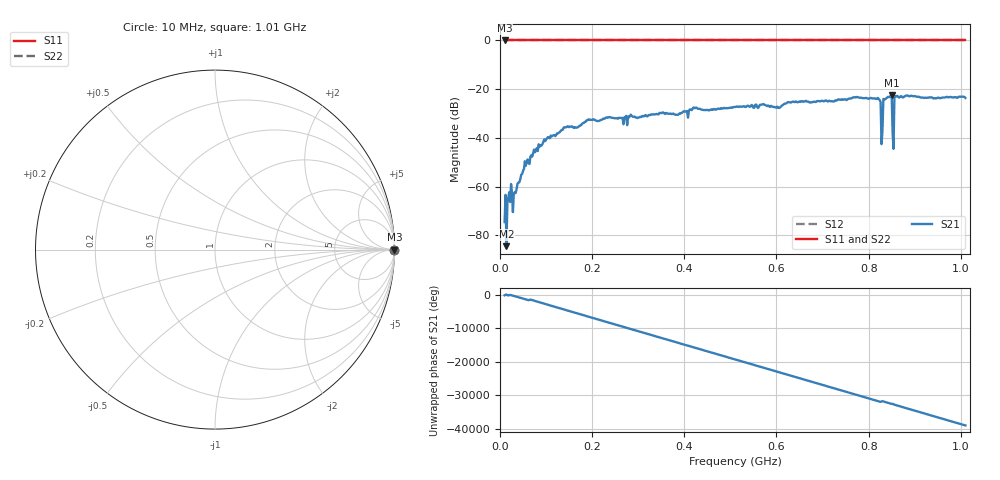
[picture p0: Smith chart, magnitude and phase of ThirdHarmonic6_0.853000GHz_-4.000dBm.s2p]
! 8/16/2025 4:13:16 AM
! C:\ANRITSUVNA\TEMP\TEMP.S2P
! CHANNEL.1
! TR.MEASUREMENT
! RAW.DATA
! RF.CORRECTION.OFF
! AVERAGING.OFF
! IF.BANDWIDTH: 5KHZ
! SWEEPTYPE:  FREQ.SWEEP(Linear)
! Reference Plane Port Info
! PORT:  PORT1  PORT2
! DISTANCE:  0  m  0  m
! TIME:  0  s  0  s
! PHASE.OFFSET:  0  deg.  0  deg.
! LOSS:  0  dB  0  dB
! REF.LOSS:  0  dB  0  dB
! REF.FREQ:  0  Hz  0  Hz
! Power Info
! POWER:  -20  dBm  -20  dBm
! EFF.POWER:  -20  dBm  -20  dBm
! SOURCE.ATTEN:  0  dB  0  dB
! TEST.ATTEN:  0  dB  0  dB
# GHZ S RI R 50.0
! FREQ.GHZ  S11RE  S11IM  S21RE  S21IM  S12RE  S12IM  S22RE  S22IM
!; PortSelection: Port_12
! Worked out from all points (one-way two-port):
!   501 points, 10 MHz to 1.01 GHz, reference 50 ohm
!   highest |S21| = -22.36 dB at 850 MHz (marker M1); lowest = -84.4 dB at 14 MHz (marker M2)
!   lowest |S11| = 0.0 dB at 10 MHz (marker M3)
!   |S11| at or under -10 dB: nowhere
!   |S22| runs from 0.0 to 0.0 dB; largest |S21 - S12| = 1.1
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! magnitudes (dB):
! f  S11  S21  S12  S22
! 10 MHz  0.0  -74.5  0.0  0.0
! 14 MHz  0.0  -84.4  0.0  0.0
! 20 MHz  0.0  -62.3  0.0  0.0
! 32 MHz  0.0  -62.3  0.0  0.0
! 56 MHz  0.0  -51.4  0.0  0.0
! 76 MHz  0.0  -45.9  0.0  0.0
! 142 MHz  0.0  -35.7  0.0  0.0
! 178 MHz  0.0  -34.2  0.0  0.0
! 344 MHz  0.0  -30.3  0.0  0.0
! 510 MHz  0.0  -27.3  0.0  0.0
! 678 MHz  0.0  -25.3  0.0  0.0
! 818 MHz  0.0  -24.0  0.0  0.0
! 822 MHz  0.0  -24.0  0.0  0.0
! 828 MHz  0.0  -42.6  0.0  0.0
! 832 MHz  0.0  -24.0  0.0  0.0
! 836 MHz  0.0  -24.1  0.0  0.0
! 844 MHz  0.0  -23.2  0.0  0.0
! 846 MHz  0.0  -23.2  0.0  0.0
! 850 MHz  0.0  -22.4  0.0  0.0
! 856 MHz  0.0  -22.8  0.0  0.0
! 860 MHz  0.0  -22.9  0.0  0.0
! 1.01 GHz  0.0  -23.6  0.0  0.0
